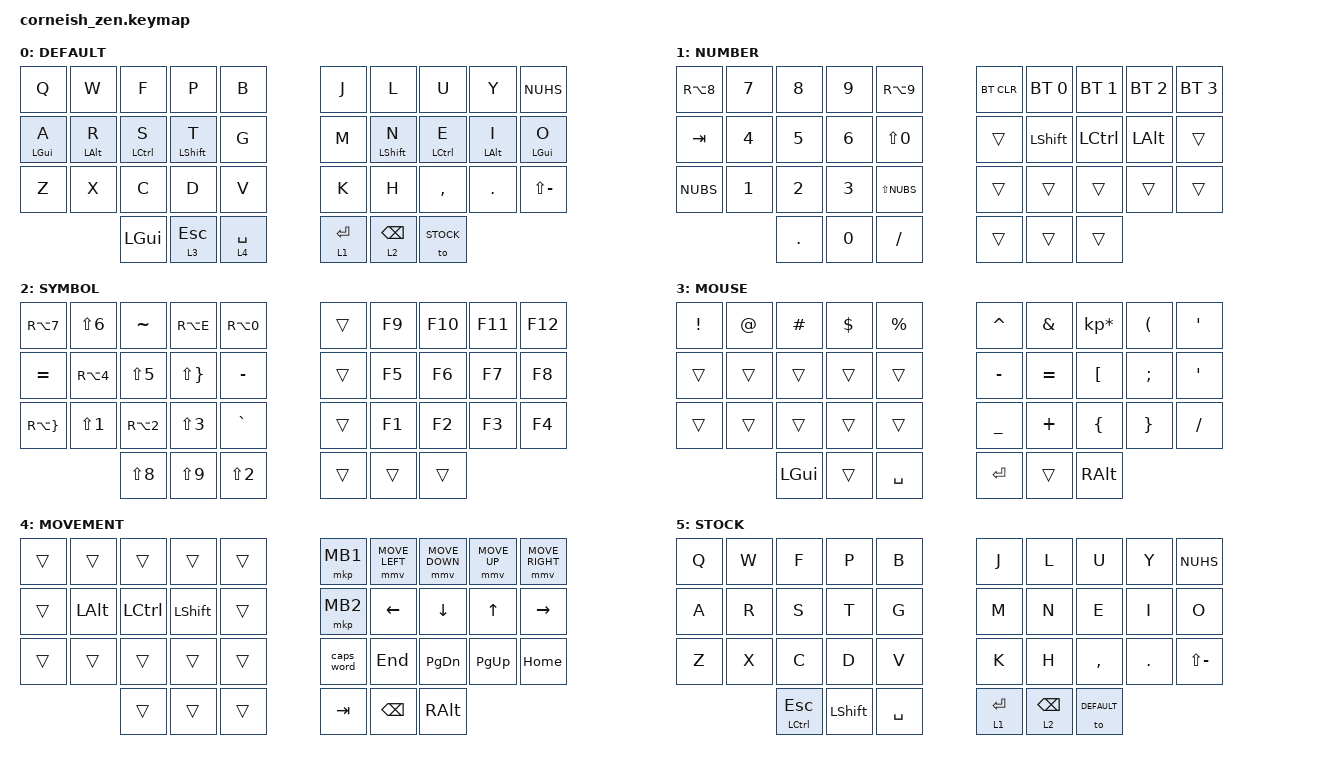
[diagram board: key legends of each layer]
/*
*
* Copyright (c) 2021 Darryl deHaan
* SPDX-License-Identifier: MIT
*
*/

#include <behaviors.dtsi>
#include <dt-bindings/zmk/keys.h>
#include <dt-bindings/zmk/bt.h>
#include <dt-bindings/zmk/pointing.h>

#define DEFAULT 0
#define NUMBER 1
#define SYMBOL 2
#define MOVEMENT 3
#define MOUSE 4
#define STOCK 5

#define TAPPING_TERM 200
#define QUICK_TAP 125

/* Key index
 0  1  2  3  4         5  6  7  8  9
10 11 12 13 14        15 16 17 18 19
20 21 22 23 24        25 26 27 28 29
        30 31 32    33 34 35         */

&caps_word {
    continue-list = <UNDERSCORE MINUS>;
};

&lt {
    tapping-term-ms = <TAPPING_TERM>;
    quick-tap-ms = <QUICK_TAP>;
};

/ {
    behaviors {
        gqt: global-quick-tap {
            compatible = "zmk,behavior-hold-tap";
            label = "HOMEROW_MODS";
            #binding-cells = <2>;
            tapping-term-ms = <TAPPING_TERM>;
            quick-tap-ms = <QUICK_TAP>;
            flavor = "tap-preferred";
            global-quick-tap;
            bindings = <&kp>, <&kp>;
        };
    };
};

/ {
  chosen {
    //zmk,matrix_transform = &default_transform;
    //zmk,matrix_transform = &five_column_transform;
    zmk,physical-layout = &foostan_corne_5col_layout;
  };
};

/ {

    combos {
        compatible = "zmk,combos";

        combo_slash {
            timeout-ms = <50>;
            key-positions = <28 29>;
            bindings = <&kp LS(N7)>;
            layers = <DEFAULT STOCK>;
        };

    };

        keymap {
                compatible = "zmk,keymap";

                default_layer {
                        label = "DEFAULT";
// -----------------------------------------------------------------------------------------
// |  Q  |  W  |  F   |    P    |    B    |   |    J    |    L     |   U   |  Y  |  '  |
// |  A  |R/Alt|S/Ctrl| T/Shift |    G    |   |    M    |    N     |   E   |  I  |  O  |
// |  Z  |  X  |  C   |    D    |    V    |   |    K    |    H     |   ,   |  .  |  ?  |
//             | GUI  |ESC/Mouse| SPC/Move|   | ENT/Num | Bspc/Sym | Normal|
                        bindings = <
   &kp Q &kp W      &kp F       &kp P        &kp B         &kp J     &kp L         &kp U       &kp Y        &kp NUHS
   &gqt LGUI A &gqt LALT R &gqt LCTRL S &gqt LSHIFT T &kp G         &kp M     &gqt LSHIFT N  &gqt LCTRL E &gqt LALT I   &gqt LGUI O
   &kp Z &kp X      &kp C       &kp D        &kp V         &kp K     &kp H         &kp COMMA   &kp DOT      &kp LS(MINUS)
                    &kp LGUI    &lt 3 ESC    &lt 4 SPACE   &lt 1 RET &lt 2 BSPC    &to STOCK
                        >;
                };
                number_layer {
                        label = "NUMBER";
// -----------------------------------------------------------------------------------------
// |  [  |  7  |  8  |  9  |  ]  |   |     |     |     |     |     |
// | Tab |  4  |  5  |  6  |  =  |   |     |Shift| Ctrl| Alt |     |
// |  <  |  1  |  2  |  3  |  >  |   |     |     |     |     |     |
//             |  .  |  0  |  -  |   | ENT |     |    |
                        bindings = <
   &kp RA(N8) &kp N7  &kp N8  &kp N9 &kp RA(N9)      &bt BT_CLR &bt BT_SEL 0 &bt BT_SEL 1 &bt BT_SEL 2 &bt BT_SEL 3
   &kp TAB    &kp N4  &kp N5  &kp N6 &kp LS(N0)      &trans   &kp LSHIFT &kp LCTRL &kp LALT &trans
   &kp NUBS   &kp N1  &kp N2  &kp N3 &kp LS(NUBS)    &trans   &trans    &trans   &trans  &trans
                      &kp DOT &kp N0 &kp SLASH       &trans   &trans    &trans
                        >;
                };

                symbol_layer {
                        label = "SYMBOL";
// -----------------------------------------------------------------------------------------  
// |  {  |  &  |  *  |  (  |  }  |   |     | F1  | F2  | F3  | F4  |
// |  \  |  $  |  %  |  ^  |  +  |   |     | F5  | F6  | F7  | F8  |
// |  ~  |  !  |  @  |  #  |  |  |   |     | F9  | F10 | F11 | F12 |
//             |  (  |  )  |  "  |   | ENT |     | ALT |
                        bindings = <
   &kp RA(N7)    &kp LS(N6) &kp TILDE  &kp RA(E)    &kp RA(N0)   &trans &kp F9 &kp F10 &kp F11 &kp F12
   &kp EQUAL     &kp RA(N4) &kp LS(N5) &kp LS(RBRC) &kp MINUS    &trans &kp F5 &kp F6  &kp F7  &kp F8
   &kp RA(RBRC)  &kp LS(N1) &kp RA(N2) &kp LS(N3)   &kp GRAVE    &trans &kp F1 &kp F2  &kp F3  &kp F4
                            &kp LS(N8) &kp LS(N9)   &kp LS(N2)   &trans &trans &trans
                        >;
                };
                mouse_layer {
                        label = "MOUSE";
// ----------------------------------------------------------------------------------------- 
// |  !  |  @  |  #  |  $  |  %  |   |  ^  |  &  |  *  |  (  |  )  |
// |     |     |     |     |     |   |  -  |  =  |  [  |  ]  |  \  |
// |     |     |     |     |     |   |  _  |  +  |  {  |  }  | "|" |
//             | GUI |     | SPC |   | ENT |     | ALT |
                        bindings = <
   &kp EXCL &kp AT &kp HASH &kp DLLR &kp PRCNT   &kp CARET &kp AMPS  &kp KP_MULTIPLY &kp LPAR &kp SQT
   &trans   &trans &trans   &trans   &trans      &kp MINUS &kp EQUAL &kp LBKT        &kp SEMI &kp SQT
   &trans   &trans &trans   &trans   &trans      &kp UNDER &kp PLUS  &kp LBRC        &kp RBRC &kp SLASH
                    	     &kp LGUI &trans   &kp SPACE   &kp RET   &trans    &kp RALT
                        >;
                };
                movement_layer {
                        label = "MOVEMENT";
// ----------------------------------------------------------------------------------------- 
// |     |     |     |     |     |   | Mouse1| Mouse_left|Mouse_down|Mouse_up|Mouse_right|
// |     |     |     |     |     |   | Mouse2 | Left | Down |  Up  | Right|
// |     |     |     |     |     |   | Caps | End | PgDn | PgUp | Home  |
//             |     |     |     |   | TAB  |backspace| ALT |
                        bindings = <
   &trans &trans   &trans    &trans     &trans      &mkp MB1  &mmv MOVE_LEFT &mmv MOVE_DOWN &mmv MOVE_UP &mmv MOVE_RIGHT
   &trans &kp LALT &kp LCTRL &kp LSHIFT &trans      &mkp MB2 &kp LEFT &kp DOWN  &kp UP &kp RIGHT
   &trans &trans   &trans    &trans     &trans      &caps_word  &kp END &kp PG_DN &kp PG_UP &kp HOME
                   &trans    &trans     &trans      &kp TAB    &kp BSPC &kp RALT
                        >;
                };
                stock_layer {
                        label = "STOCK";
// ----------------------------------------------------------------------------------------- 
// |  Q  |  W  |  F  |    P    |    B    |   |    J    |    L     |   U   |  Y  |  '  |
// |  A  |  R  |  S  |    T    |    G    |   |    M    |    N     |   E   |  I  |  O  |
// |  Z  |  X  |  C  |    D    |    V    |   |    K    |    H     |   ,   |  .  |  -  |
//             | GUI |ESC/Mouse| SPC/Move|   | ENT/Num | Bspc/Sym | Normal|
                        bindings = <
   &kp Q &kp W  &kp F         &kp P       &kp B         &kp J     &kp L       &kp U       &kp Y    &kp NUHS
   &kp A &kp R  &kp S         &kp T       &kp G         &kp M     &kp N       &kp E       &kp I    &kp O
   &kp Z &kp X  &kp C         &kp D       &kp V         &kp K     &kp H       &kp COMMA   &kp DOT  &kp LS(MINUS)
                &mt LCTRL ESC &kp LSHIFT  &kp SPACE     &lt 1 RET &lt 2 BSPC  &to DEFAULT
                        >;
                };
        };

};
